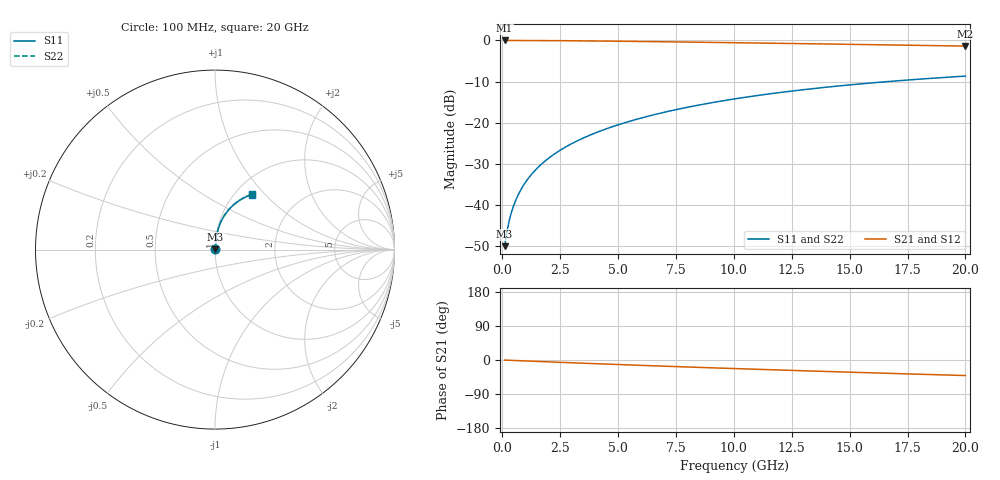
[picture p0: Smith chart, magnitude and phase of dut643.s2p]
! Touchstone file exported from HFSS 2024.1.0
!  File:  C:/UserFiles/LocalFiles/RDL_TSV_Batchsim/temp_RDL_top_643_1779781047.aedt
!  Generated:  03:39:30 PM May 26, 2026
!  Design:  RDL_top
!  Project:  temp_RDL_top_643_1779781047
!  Setup:  Setup1
!  Solution:  Sweep
! Variables:
!  dtsv = 10.80580581um
!  hbump = 3um
!  htsv = 59.97um
!  ldown = 100um
!  lrdl = 597.37um
!  p = 40
!  p1 = 47.27um
!  rhole = 1um
!  t = 450um
!  tdown = 3.915915916um
!  trdl = 4.61um
!  wdown = 15.38538539um
!  wrdl = 19.87um
# GHz S MA R 50.000000
! Terminal data exported
! Port[1] = Box2_T1
! Port[2] = Box2_T2
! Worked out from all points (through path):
!   200 points, 100 MHz to 20 GHz, reference 50 ohm
!   highest |S21| = -0.02 dB at 100 MHz (marker M1); lowest = -1.4 dB at 20 GHz (marker M2)
!   group delay of S21, straight-line fit = 5.65 ps
!   lowest |S11| = -49.9 dB at 100 MHz (marker M3), VSWR 1.01, Z = 50.2 + j0.203 ohm
!   |S11| at or under -10 dB: start of sweep to 16.64 GHz
!   |S22| runs from -49.9 to -8.7 dB; largest |S21 - S12| = 4.1e-15
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0.1  0.003186 39.4  0.9975 -0.3  0.9975 -0.3  0.003186 39.4
! Gamma 0 0 0 0
! Port Impedance 50 0 50 0
0.2  0.004758 57.2  0.9974 -0.5  0.9974 -0.5  0.004758 57.2
0.3  0.006506 65.2  0.9972 -0.8  0.9972 -0.8  0.006505 65.2
0.4  0.00828 69.7  0.997 -1.0  0.997 -1.0  0.008278 69.7
0.5  0.01005 72.6  0.9969 -1.3  0.9969 -1.3  0.01005 72.7
0.6  0.01182 74.8  0.9967 -1.5  0.9967 -1.5  0.01182 74.8
0.8  0.01538 77.6  0.9963 -2.0  0.9963 -2.0  0.01537 77.6
1.1  0.02076 80.1  0.9957 -2.7  0.9957 -2.7  0.02075 80.2
1.3  0.02437 81.2  0.9953 -3.2  0.9953 -3.2  0.02437 81.2
1.6  0.02984 82.3  0.9944 -4.0  0.9944 -4.0  0.02984 82.3
2.1  0.03905 83.2  0.9927 -5.2  0.9927 -5.2  0.03905 83.3
2.7  0.05024 83.6  0.9902 -6.6  0.9902 -6.6  0.05025 83.7
3.5  0.06539 83.6  0.9861 -8.5  0.9861 -8.5  0.06542 83.7
4.2  0.07886 83.2  0.9819 -10.1  0.9819 -10.1  0.07891 83.3
5  0.09448 82.5  0.9766 -12.0  0.9766 -12.0  0.09455 82.6
6.8  0.1303 80.2  0.9633 -15.9  0.9633 -15.9  0.1304 80.3
8.4  0.1624 77.7  0.9506 -19.3  0.9506 -19.3  0.1626 77.8
10.1  0.1963 74.7  0.9367 -22.8  0.9367 -22.8  0.1966 74.8
11.7  0.2275 71.7  0.9233 -25.9  0.9233 -25.9  0.2279 71.8
13.4  0.2595 68.5  0.9089 -29.2  0.9089 -29.2  0.26 68.6
16.7  0.3173 62.2  0.8807 -35.2  0.8807 -35.2  0.3179 62.4
20  0.3685 56.3  0.8527 -41.0  0.8527 -41.0  0.3692 56.4
